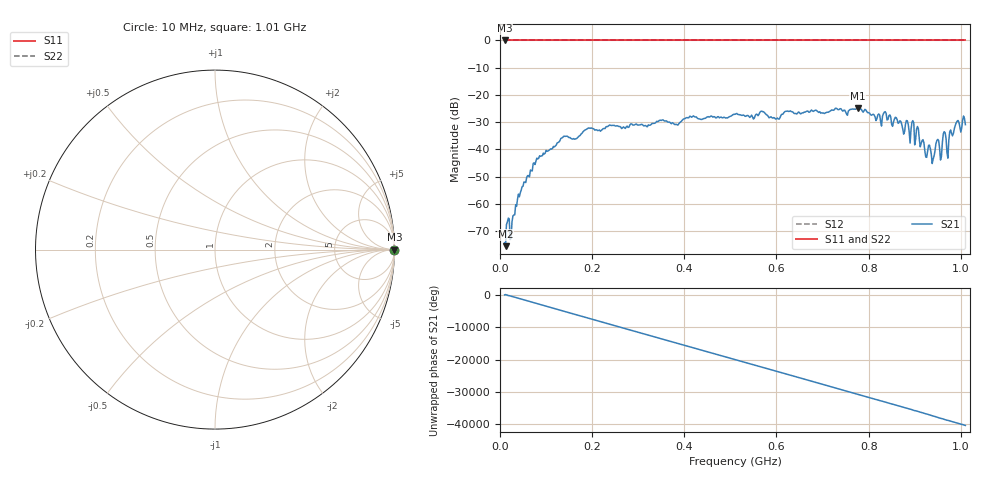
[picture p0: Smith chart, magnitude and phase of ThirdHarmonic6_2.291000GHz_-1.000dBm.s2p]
! 8/17/2025 3:02:38 AM
! C:\ANRITSUVNA\TEMP\TEMP.S2P
! CHANNEL.1
! TR.MEASUREMENT
! RAW.DATA
! RF.CORRECTION.OFF
! AVERAGING.OFF
! IF.BANDWIDTH: 5KHZ
! SWEEPTYPE:  FREQ.SWEEP(Linear)
! Reference Plane Port Info
! PORT:  PORT1  PORT2
! DISTANCE:  0  m  0  m
! TIME:  0  s  0  s
! PHASE.OFFSET:  0  deg.  0  deg.
! LOSS:  0  dB  0  dB
! REF.LOSS:  0  dB  0  dB
! REF.FREQ:  0  Hz  0  Hz
! Power Info
! POWER:  -20  dBm  -20  dBm
! EFF.POWER:  -20  dBm  -20  dBm
! SOURCE.ATTEN:  0  dB  0  dB
! TEST.ATTEN:  0  dB  0  dB
# GHZ S RI R 50.0
! FREQ.GHZ  S11RE  S11IM  S21RE  S21IM  S12RE  S12IM  S22RE  S22IM
!; PortSelection: Port_12
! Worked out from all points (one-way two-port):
!   501 points, 10 MHz to 1.01 GHz, reference 50 ohm
!   highest |S21| = -24.83 dB at 776 MHz (marker M1); lowest = -75.6 dB at 12 MHz (marker M2)
!   lowest |S11| = 0.0 dB at 10 MHz (marker M3)
!   |S11| at or under -10 dB: nowhere
!   |S22| runs from 0.0 to 0.0 dB; largest |S21 - S12| = 1.1
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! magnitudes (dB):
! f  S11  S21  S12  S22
! 10 MHz  0.0  -74.3  0.0  0.0
! 12 MHz  0.0  -75.6  0.0  0.0
! 16 MHz  0.0  -66.7  0.0  0.0
! 26 MHz  0.0  -66.8  0.0  0.0
! 44 MHz  0.0  -56.0  0.0  0.0
! 76 MHz  0.0  -45.6  0.0  0.0
! 136 MHz  0.0  -35.7  0.0  0.0
! 178 MHz  0.0  -34.1  0.0  0.0
! 344 MHz  0.0  -29.7  0.0  0.0
! 510 MHz  0.0  -27.1  0.0  0.0
! 602 MHz  0.0  -28.5  0.0  0.0
! 678 MHz  0.0  -25.9  0.0  0.0
! 776 MHz  0.0  -24.8  0.0  0.0
! 844 MHz  0.0  -27.6  0.0  0.0
! 896 MHz  0.0  -29.5  0.0  0.0
! 940 MHz  0.0  -43.6  0.0  0.0
! 948 MHz  0.0  -36.8  0.0  0.0
! 956 MHz  0.0  -43.9  0.0  0.0
! 964 MHz  0.0  -33.5  0.0  0.0
! 972 MHz  0.0  -43.3  0.0  0.0
! 992 MHz  0.0  -29.7  0.0  0.0
! 1.01 GHz  0.0  -30.9  0.0  0.0
